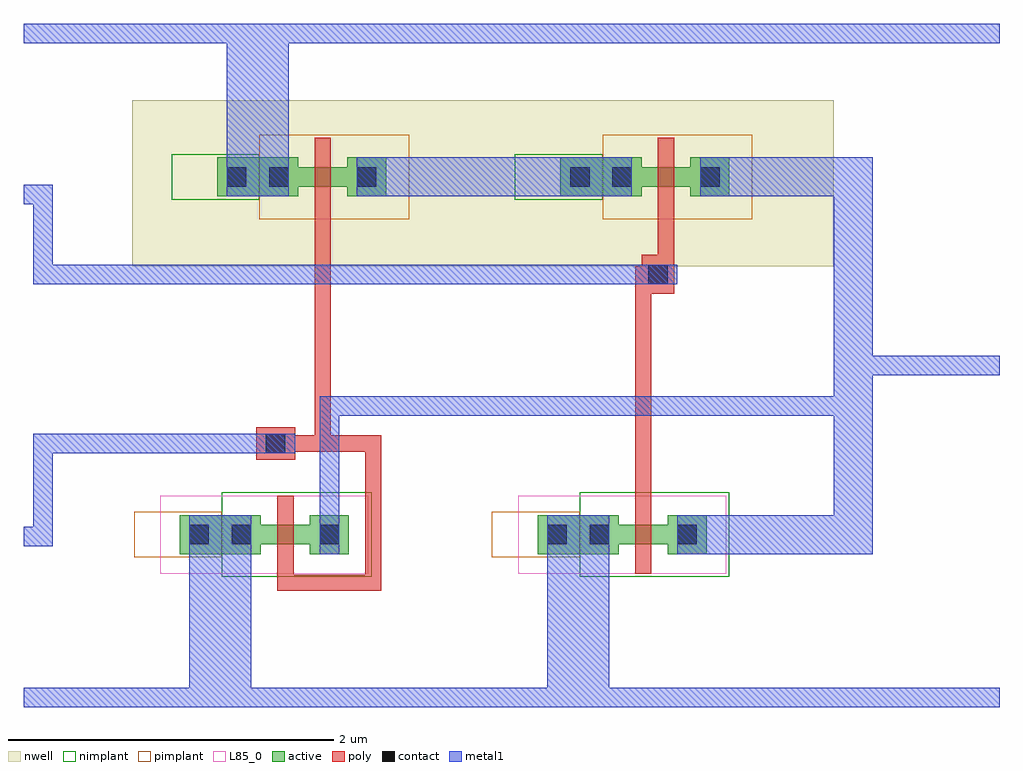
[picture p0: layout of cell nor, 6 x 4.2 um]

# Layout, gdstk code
import gdstk
lib = gdstk.Library(unit=1e-6, precision=5e-10)
def R(c, l, rs):  # rectangles x0, y0, x1, y1
    for r in rs: c.add(gdstk.rectangle(r[:2], r[2:], *l))
def A(c, l, x, y, w, h, nx, ny, dx, dy):  # array of equal rectangles
    R(c, l, [(x+i*dx, y+j*dy, x+i*dx+w, y+j*dy+h) for i in range(nx) for j in range(ny)])
active = (1, 0)
nwell = (2, 0)
poly = (3, 0)
nimplant = (4, 0)
pimplant = (5, 0)
contact = (6, 0)
metal1 = (7, 0)
L85_0 = (85, 0)

nmos1v_0 = lib.new_cell('nmos1v_0')
A(nmos1v_0, active, -0.1, 0, 0.1, 0.12, 3, 1, 0.1, 0)
R(nmos1v_0, active, [(-0.6,-0.06,-0.1,0.18), (0.2,-0.06,0.44,0.18)])
R(nmos1v_0, poly, [(0,-0.18,0.1,-0.16), (0,-0.16,0.1,0), (0,0,0.1,0.12), (0,0.12,0.1,0.28), (0,0.28,0.1,0.3)])
R(nmos1v_0, nimplant, [(-0.34,-0.2,0.58,0.32), (-0.18,-0.18,0.28,0.3)])
R(nmos1v_0, pimplant, [(-0.88,-0.08,-0.34,0.2)])
R(nmos1v_0, contact, [(-0.54,0,-0.42,0.12), (-0.28,0,-0.16,0.12), (0.26,0,0.38,0.12)])
R(nmos1v_0, metal1, [(-0.54,-0.06,-0.16,0.18), (-0.54,-0.06,-0.16,0.18), (0.26,-0.06,0.38,0.18)])
R(nmos1v_0, L85_0, [(-0.72,-0.18,0.56,0.3)])

pmos1v_1 = lib.new_cell('pmos1v_1')
A(pmos1v_1, active, -0.1, 0, 0.1, 0.12, 3, 1, 0.1, 0)
R(pmos1v_1, active, [(-0.6,-0.06,-0.1,0.18), (0.2,-0.06,0.44,0.18)])
R(pmos1v_1, nwell, [(-0.72,-0.18,0.56,0.3)])
R(pmos1v_1, poly, [(0,-0.18,0.1,-0.16), (0,-0.16,0.1,0), (0,0,0.1,0.12), (0,0.12,0.1,0.28), (0,0.28,0.1,0.3)])
R(pmos1v_1, nimplant, [(-0.88,-0.08,-0.34,0.2)])
R(pmos1v_1, pimplant, [(-0.34,-0.2,0.58,0.32), (-0.18,-0.18,0.28,0.3)])
R(pmos1v_1, contact, [(-0.54,0,-0.42,0.12), (-0.28,0,-0.16,0.12), (0.26,0,0.38,0.12)])
R(pmos1v_1, metal1, [(-0.54,-0.06,-0.16,0.18), (-0.54,-0.06,-0.16,0.18), (0.26,-0.06,0.38,0.18)])

m1_pov_0 = lib.new_cell('M1_POv_0')
R(m1_pov_0, poly, [(-0.1,-0.12,0.1,0.12)])
R(m1_pov_0, contact, [(-0.06,-0.06,0.06,0.06)])
R(m1_pov_0, metal1, [(-0.12,-0.06,0.12,0.06)])

m1_pov_1 = lib.new_cell('M1_POv_1')
R(m1_pov_1, poly, [(-0.12,-0.1,0.12,0.1)])
R(m1_pov_1, contact, [(-0.06,-0.06,0.06,0.06)])
R(m1_pov_1, metal1, [(-0.12,-0.06,0.12,0.06)])

nor = lib.new_cell('nor')
R(nor, nwell, [(0.67,2.71,4.98,3.73)])
R(nor, metal1, [(0,0,6,0.12), (0,0.99,0.12,1.11), (5.88,2.04,6,2.16), (0,3.09,0.12,3.21), (0,4.08,6,4.2)])
nor.add(gdstk.FlexPath([(2.15,1.62),(1.84,1.62)], 0.1, ends="extended", simple_path=True, layer=3, datatype=0))  # poly
nor.add(gdstk.FlexPath([(2.15,0.765),(2.15,1.62)], 0.1, ends="extended", simple_path=True, layer=3, datatype=0))  # poly
nor.add(gdstk.FlexPath([(1.61,0.765),(2.15,0.765)], 0.1, ends="extended", simple_path=True, layer=3, datatype=0))  # poly
nor.add(gdstk.FlexPath([(1.61,0.82),(1.61,0.765)], 0.1, ends=(0, 0.05), simple_path=True, layer=3, datatype=0))  # poly
nor.add(gdstk.FlexPath([(1.84,1.62),(1.84,3.02)], 0.1, ends=(0.05, 0), simple_path=True, layer=3, datatype=0))  # poly
nor.add(gdstk.FlexPath([(1.55,1.62),(1.84,1.62)], 0.1, ends=(0.12, 0.05), simple_path=True, layer=3, datatype=0))  # poly
nor.add(gdstk.FlexPath([(3.95,3.02),(3.95,2.66)], 0.1, ends=(0, 0.05), simple_path=True, layer=3, datatype=0))  # poly
nor.add(gdstk.FlexPath([(3.9,2.66),(3.95,2.66)], 0.1, ends=(0.05, 0), simple_path=True, layer=3, datatype=0))  # poly
nor.add(gdstk.FlexPath([(3.81,2.66),(3.81,1.3)], 0.1, ends=(0.05, 0), simple_path=True, layer=3, datatype=0))  # poly
nor.add(gdstk.FlexPath([(3.95,2.66),(3.81,2.66)], 0.1, ends="extended", simple_path=True, layer=3, datatype=0))  # poly
nor.add(gdstk.FlexPath([(0.12,1.62),(1.55,1.62)], 0.12, ends=(0.06, 0.12), simple_path=True, layer=7, datatype=0))  # metal1
nor.add(gdstk.FlexPath([(0.12,1.05),(0.12,1.62)], 0.12, ends="extended", simple_path=True, layer=7, datatype=0))  # metal1
nor.add(gdstk.FlexPath([(4.14,1.06),(5.1,1.06)], 0.24, ends=(0, 0.12), simple_path=True, layer=7, datatype=0))  # metal1
nor.add(gdstk.FlexPath([(5.88,2.1),(5.1,2.1)], 0.12, ends=(0, 0.12), simple_path=True, layer=7, datatype=0))  # metal1
nor.add(gdstk.FlexPath([(5.1,3.26),(4.28,3.26)], 0.24, ends=(0.12, 0), simple_path=True, layer=7, datatype=0))  # metal1
nor.add(gdstk.FlexPath([(1.88,1.18),(1.88,1.85)], 0.12, ends=(0, 0.06), simple_path=True, layer=7, datatype=0))  # metal1
nor.add(gdstk.FlexPath([(0.12,2.66),(3.9,2.66)], 0.12, ends="extended", simple_path=True, layer=7, datatype=0))  # metal1
nor.add(gdstk.FlexPath([(0.12,3.15),(0.12,2.66)], 0.12, ends="extended", simple_path=True, layer=7, datatype=0))  # metal1
nor.add(gdstk.FlexPath([(2.17,3.26),(3.36,3.26)], 0.24, ends="flush", simple_path=True, layer=7, datatype=0))  # metal1
nor.add(gdstk.FlexPath([(5.1,1.06),(5.1,1.85)], 0.24, ends=(0.12, 0.06), simple_path=True, layer=7, datatype=0))  # metal1
nor.add(gdstk.FlexPath([(1.88,1.85),(5.1,1.85)], 0.12, ends=(0.06, 0.12), simple_path=True, layer=7, datatype=0))  # metal1
nor.add(gdstk.FlexPath([(5.1,1.85),(5.1,2.1)], 0.24, ends=(0.06, 0.06), simple_path=True, layer=7, datatype=0))  # metal1
nor.add(gdstk.FlexPath([(5.1,2.1),(5.1,3.26)], 0.24, ends=(0.06, 0.12), simple_path=True, layer=7, datatype=0))  # metal1
nor.add(gdstk.FlexPath([(3.41,0.94),(3.41,0)], 0.38, ends="flush", simple_path=True, layer=7, datatype=0))  # metal1
nor.add(gdstk.FlexPath([(1.21,0.94),(1.21,0)], 0.38, ends="flush", simple_path=True, layer=7, datatype=0))  # metal1
nor.add(gdstk.FlexPath([(1.44,3.38),(1.44,4.2)], 0.38, ends="flush", simple_path=True, layer=7, datatype=0))  # metal1
nor.add(gdstk.Reference(nmos1v_0, (3.76,1)))
nor.add(gdstk.Reference(nmos1v_0, (1.56,1)))
nor.add(gdstk.Reference(pmos1v_1, (3.9,3.2)))
nor.add(gdstk.Reference(pmos1v_1, (1.79,3.2)))
nor.add(gdstk.Reference(m1_pov_0, (3.9,2.66)))
nor.add(gdstk.Reference(m1_pov_1, (1.55,1.62)))

lib.write_gds('nor.gds')
